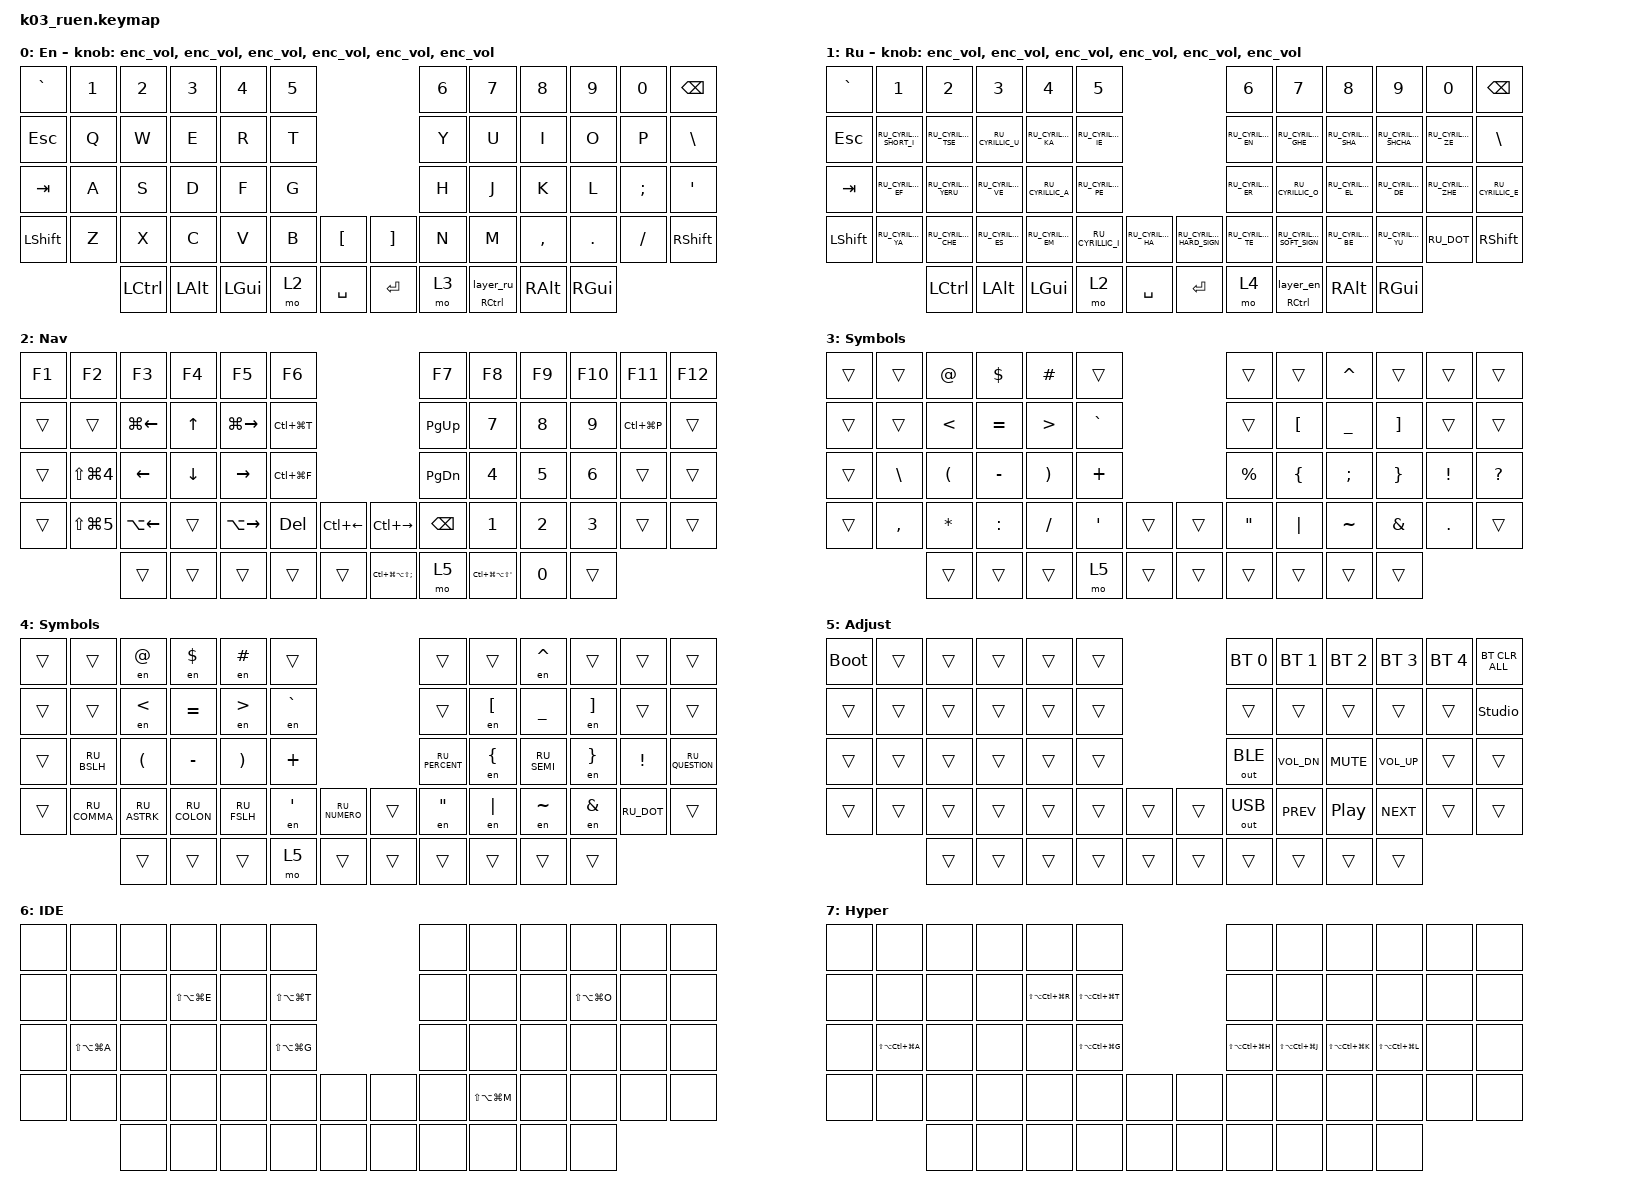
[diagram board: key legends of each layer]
#include "keys_ru.h"
#include <behaviors.dtsi>
#include <dt-bindings/zmk/bt.h>
#include <dt-bindings/zmk/keys.h>
#include <dt-bindings/zmk/outputs.h>

/ {
    behaviors {
        enc_vol: enc_vol {
            compatible = "zmk,behavior-sensor-rotate";
            label = "ENC_VOL";
            #sensor-binding-cells = <0>;
            bindings = <&kp C_VOL_UP>, <&kp C_VOL_DN>;
        };

        ht_to_ru: ht_to_ru {
            compatible = "zmk,behavior-hold-tap";
            label = "HT_TO_RU";
            bindings = <&kp>, <&layer_ru>;

            #binding-cells = <2>;
            tapping-term-ms = <200>;
            flavor = "tap-preferred";
        };

        ht_to_en: ht_to_en {
            compatible = "zmk,behavior-hold-tap";
            label = "HT_TO_EN";
            bindings = <&kp>, <&layer_en>;

            #binding-cells = <2>;
            tapping-term-ms = <200>;
            flavor = "tap-preferred";
        };
    };

    combos {
        compatible = "zmk,combos";

        cmben {
            bindings = <&layer_en>;
            key-positions = <17 18>;
            layers = <1>;
            require-prior-idle-ms = <220>;
            timeout-ms = <35>;
        };

        cmbru {
            bindings = <&layer_ru>;
            key-positions = <17 18>;
            layers = <0>;
            require-prior-idle-ms = <220>;
            timeout-ms = <35>;
        };

        cb_ide {
            bindings = <&sl 6>;
            key-positions = <31 28>;
            require-prior-idle-ms = <200>;
            layers = <0 1>;
            timeout-ms = <35>;
        };

        cb_hyper {
            bindings = <&sl 7>;
            key-positions = <31 32>;
            require-prior-idle-ms = <220>;
            layers = <0 1>;
            timeout-ms = <30>;
        };
    };

    macros {
        to_ru: to_ru {
            compatible = "zmk,behavior-macro";
            #binding-cells = <0>;
            bindings = <&kp LS(LC(N2))>;
            label = "TO_RU";
            wait-ms = <0>;
            tap-ms = <30>;
        };

        to_en: to_en {
            compatible = "zmk,behavior-macro";
            #binding-cells = <0>;
            bindings = <&kp LS(LC(N1))>;
            label = "TO_EN";
            wait-ms = <0>;
            tap-ms = <30>;
        };

        layer_en: layer_en {
            compatible = "zmk,behavior-macro";
            #binding-cells = <0>;
            bindings = <&to 0 &to_en>;
            label = "LAYER_EN";
            wait-ms = <0>;
            tap-ms = <30>;
        };

        layer_ru: layer_ru {
            compatible = "zmk,behavior-macro";
            #binding-cells = <0>;
            bindings = <&to 1 &to_ru>;
            label = "LAYER_RU";
            tap-ms = <30>;
            wait-ms = <0>;
        };

        en: en {
            compatible = "zmk,behavior-macro-one-param";
            #binding-cells = <1>;
            bindings =
                <&to_en>,
                <&macro_press>,
                <&macro_param_1to1 &kp MACRO_PLACEHOLDER>,
                <&macro_pause_for_release>,
                <&macro_release>,
                <&macro_param_1to1 &kp MACRO_PLACEHOLDER>,
                <&macro_tap>,
                <&to_ru>;

            label = "EN";
            wait-ms = <0>;
            tap-ms = <30>;
        };
    };

    keymap {
        compatible = "zmk,keymap";

        en {
            bindings = <
&kp GRAVE  &kp N1  &kp N2     &kp N3    &kp N4    &kp N5                          &kp N6  &kp N7             &kp N8     &kp N9    &kp N0    &kp BSPC
&kp ESC    &kp Q   &kp W      &kp E     &kp R     &kp T                           &kp Y   &kp U              &kp I      &kp O     &kp P     &kp BSLH
&kp TAB    &kp A   &kp S      &kp D     &kp F     &kp G                           &kp H   &kp J              &kp K      &kp L     &kp SEMI  &kp SQT
&kp LSHFT  &kp Z   &kp X      &kp C     &kp V     &kp B   &kp LBKT     &kp RBKT   &kp N   &kp M              &kp COMMA  &kp DOT   &kp FSLH  &kp RSHFT
                   &kp LCTRL  &kp LALT  &kp LGUI  &mo 2   &kp SPACE    &kp ENTER  &mo 3   &ht_to_ru RCTRL 0  &kp RALT   &kp RGUI
            >;

            display-name = "En";
            sensor-bindings =
                <&enc_vol>,
                <&enc_vol>,
                <&enc_vol>,
                <&enc_vol>,
                <&enc_vol>,
                <&enc_vol>;
        };

        ru {
            display-name = "Ru";
            bindings = <
&kp GRAVE  &kp N1                   &kp N2                &kp N3              &kp N4              &kp N5                                                               &kp N6              &kp N7                     &kp N8               &kp N9                 &kp N0               &kp BSPC
&kp ESC    &kp RU_CYRILLIC_SHORT_I  &kp RU_CYRILLIC_TSE   &kp RU_CYRILLIC_U   &kp RU_CYRILLIC_KA  &kp RU_CYRILLIC_IE                                                   &kp RU_CYRILLIC_EN  &kp RU_CYRILLIC_GHE        &kp RU_CYRILLIC_SHA  &kp RU_CYRILLIC_SHCHA  &kp RU_CYRILLIC_ZE   &kp BSLH
&kp TAB    &kp RU_CYRILLIC_EF       &kp RU_CYRILLIC_YERU  &kp RU_CYRILLIC_VE  &kp RU_CYRILLIC_A   &kp RU_CYRILLIC_PE                                                   &kp RU_CYRILLIC_ER  &kp RU_CYRILLIC_O          &kp RU_CYRILLIC_EL   &kp RU_CYRILLIC_DE     &kp RU_CYRILLIC_ZHE  &kp RU_CYRILLIC_E
&kp LSHFT  &kp RU_CYRILLIC_YA       &kp RU_CYRILLIC_CHE   &kp RU_CYRILLIC_ES  &kp RU_CYRILLIC_EM  &kp RU_CYRILLIC_I   &kp RU_CYRILLIC_HA    &kp RU_CYRILLIC_HARD_SIGN  &kp RU_CYRILLIC_TE  &kp RU_CYRILLIC_SOFT_SIGN  &kp RU_CYRILLIC_BE   &kp RU_CYRILLIC_YU     &kp RU_DOT           &kp RSHFT
                                    &kp LCTRL             &kp LALT            &kp LGUI            &mo 2               &kp SPACE             &kp ENTER                  &mo 4               &ht_to_en RCTRL 0          &kp RALT             &kp RGUI
            >;

            sensor-bindings =
                <&enc_vol>,
                <&enc_vol>,
                <&enc_vol>,
                <&enc_vol>,
                <&enc_vol>,
                <&enc_vol>;
        };

        nav {
            bindings = <
&kp F1  &kp F2          &kp F3              &kp F4    &kp F5               &kp F6                                                         &kp F7         &kp F8                   &kp F9  &kp F10  &kp F11        &kp F12
&trans  &trans          &kp LG(LEFT_ARROW)  &kp UP    &kp LG(RIGHT_ARROW)  &kp LC(LG(T))                                                  &kp PG_UP      &kp N7                   &kp N8  &kp N9   &kp LC(LG(P))  &trans
&trans  &kp LS(LG(N4))  &kp LEFT            &kp DOWN  &kp RIGHT            &kp LC(LG(F))                                                  &kp PG_DN      &kp N4                   &kp N5  &kp N6   &trans         &trans
&trans  &kp LS(LG(N5))  &kp LA(LEFT)        &trans    &kp LA(RIGHT)        &kp DEL        &kp LC(LEFT_ARROW)    &kp LC(RIGHT_ARROW)       &kp BACKSPACE  &kp N1                   &kp N2  &kp N3   &trans         &trans
                        &trans              &trans    &trans               &trans         &trans                &kp LC(LG(LA(LS(SEMI))))  &mo 5          &kp LC(LG(LA(LS(SQT))))  &kp N0  &trans
            >;

            display-name = "Nav";
        };

        sym_en {
            bindings = <
&trans  &trans     &kp AT    &kp DLLR   &kp HASH  &trans                       &trans     &trans    &kp CARET  &trans    &trans    &trans
&trans  &trans     &kp LT    &kp EQUAL  &kp GT    &kp GRAVE                    &trans     &kp LBKT  &kp UNDER  &kp RBKT  &trans    &trans
&trans  &kp BSLH   &kp LPAR  &kp MINUS  &kp RPAR  &kp PLUS                     &kp PRCNT  &kp LBRC  &kp SEMI   &kp RBRC  &kp EXCL  &kp QUESTION
&trans  &kp COMMA  &kp STAR  &kp COLON  &kp FSLH  &kp SQT    &trans    &trans  &kp DQT    &kp PIPE  &kp TILDE  &kp AMPS  &kp DOT   &trans
                   &trans    &trans     &trans    &mo 5      &trans    &trans  &trans     &trans    &trans     &trans
            >;

            display-name = "Symbols";
        };

        sym_ru {
            display-name = "Symbols";
            bindings = <
&trans  &trans        &en AT        &en DLLR      &en HASH     &trans                              &trans          &trans    &en CARET    &trans    &trans      &trans
&trans  &trans        &en LT        &kp EQUAL     &en GT       &en GRAVE                           &trans          &en LBKT  &kp UNDER    &en RBKT  &trans      &trans
&trans  &kp RU_BSLH   &kp LPAR      &kp MINUS     &kp RPAR     &kp PLUS                            &kp RU_PERCENT  &en LBRC  &kp RU_SEMI  &en RBRC  &kp EXCL    &kp RU_QUESTION
&trans  &kp RU_COMMA  &kp RU_ASTRK  &kp RU_COLON  &kp RU_FSLH  &en SQT    &kp RU_NUMERO    &trans  &en DQT         &en PIPE  &en TILDE    &en AMPS  &kp RU_DOT  &trans
                      &trans        &trans        &trans       &mo 5      &trans           &trans  &trans          &trans    &trans       &trans
            >;
        };

        adj {
            bindings = <
&bootloader  &trans  &trans  &trans  &trans  &trans                    &bt BT_SEL 0  &bt BT_SEL 1  &bt BT_SEL 2      &bt BT_SEL 3  &bt BT_SEL 4  &bt BT_CLR_ALL
&trans       &trans  &trans  &trans  &trans  &trans                    &trans        &trans        &trans            &trans        &trans        &studio_unlock
&trans       &trans  &trans  &trans  &trans  &trans                    &out OUT_BLE  &kp C_VOL_DN  &kp C_MUTE        &kp C_VOL_UP  &trans        &trans
&trans       &trans  &trans  &trans  &trans  &trans  &trans    &trans  &out OUT_USB  &kp C_PREV    &kp C_PLAY_PAUSE  &kp C_NEXT    &trans        &trans
                     &trans  &trans  &trans  &trans  &trans    &trans  &trans        &trans        &trans            &trans
            >;

            display-name = "Adjust";
        };

        ide {
            bindings = <
&none  &none              &none  &none              &none  &none                              &none  &none              &none  &none              &none  &none
&none  &none              &none  &kp LS(LA(LG(E)))  &none  &kp LS(LA(LG(T)))                  &none  &none              &none  &kp LS(LA(LG(O)))  &none  &none
&none  &kp LS(LA(LG(A)))  &none  &none              &none  &kp LS(LA(LG(G)))                  &none  &none              &none  &none              &none  &none
&none  &none              &none  &none              &none  &none              &none    &none  &none  &kp LS(LA(LG(M)))  &none  &none              &none  &none
                          &none  &none              &none  &none              &none    &none  &none  &none              &none  &none
            >;

            label = "IDE";
        };

        hyper {
            bindings = <
&none  &none                  &none  &none  &none                  &none                                  &none                  &none                  &none                  &none                  &none  &none
&none  &none                  &none  &none  &kp LS(LA(LC(LG(R))))  &kp LS(LA(LC(LG(T))))                  &none                  &none                  &none                  &none                  &none  &none
&none  &kp LS(LA(LC(LG(A))))  &none  &none  &none                  &kp LS(LA(LC(LG(G))))                  &kp LS(LA(LC(LG(H))))  &kp LS(LA(LC(LG(J))))  &kp LS(LA(LC(LG(K))))  &kp LS(LA(LC(LG(L))))  &none  &none
&none  &none                  &none  &none  &none                  &none                  &none    &none  &none                  &none                  &none                  &none                  &none  &none
                              &none  &none  &none                  &none                  &none    &none  &none                  &none                  &none                  &none
            >;

            label = "Hyper";
        };
    };
};
